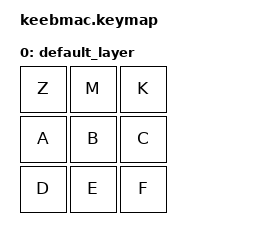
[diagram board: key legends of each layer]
#include <behaviors.dtsi>
#include <dt-bindings/zmk/keys.h>

/ {
    chosen {
        zmk,matrix-transform = &default_transform; // Connects map to overlay
    };

    keymap {
        compatible = "zmk,keymap";

        default_layer { 
            bindings = <
                &kp Z    &kp M    &kp K
                &kp A    &kp B    &kp C
                &kp D    &kp E    &kp F
            >;
        };
    };
};
